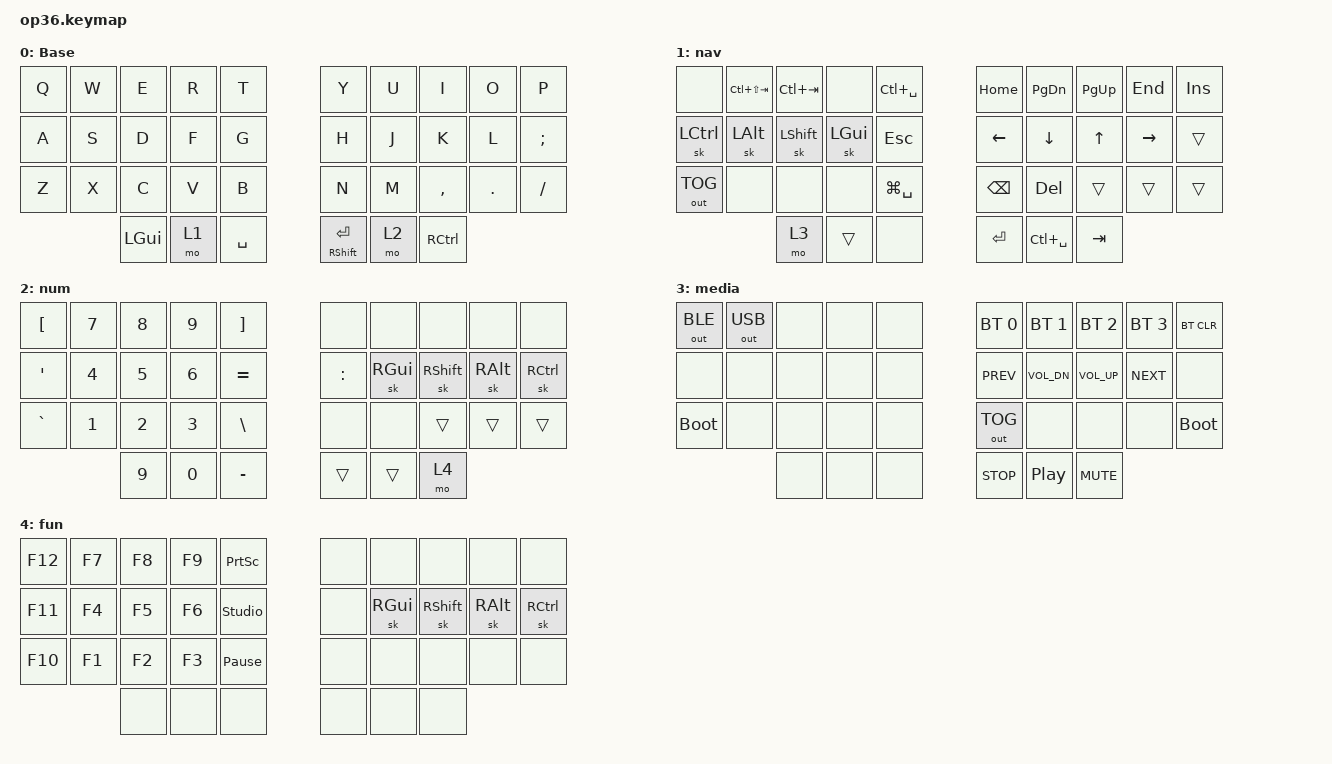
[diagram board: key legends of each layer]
#include "keys_ru.h"
#include <behaviors.dtsi>
#include <dt-bindings/zmk/bt.h>
#include <dt-bindings/zmk/keys.h>
#include <dt-bindings/zmk/outputs.h>

/ {
    combos { compatible = "zmk,combos"; };

    keymap {
        compatible = "zmk,keymap";

        base {
            display-name = "Base";
            bindings = <
  &kp Q  &kp W  &kp E  &kp R     &kp T                                &kp Y  &kp U      &kp I      &kp O    &kp P
  &kp A  &kp S  &kp D  &kp F     &kp G                                &kp H  &kp J      &kp K      &kp L    &kp SEMI
  &kp Z  &kp X  &kp C  &kp V     &kp B                                &kp N  &kp M      &kp COMMA  &kp DOT  &kp FSLH
                       &kp LGUI  &mo 1  &kp SPACE    &mt RSHFT ENTER  &mo 2  &kp RCTRL
            >;
        };

        nav {
            display-name = "nav";
            bindings = <
  &none         &kp LC(LS(TAB))  &kp LC(TAB)  &none     &kp LC(SPACE)                      &kp HOME        &kp PG_DN   &kp PG_UP  &kp END          &kp INS
  &sk LCTRL     &sk LALT         &sk LSHFT    &sk LGUI  &kp ESC                            &kp LEFT_ARROW  &kp DOWN    &kp UP     &kp RIGHT_ARROW  &trans
  &out OUT_TOG  &none            &none        &none     &kp LG(SPACE)                      &kp BACKSPACE   &kp DELETE  &trans     &trans           &trans
                                              &mo 3     &trans         &none    &kp ENTER  &kp LC(SPACE)   &kp TAB
            >;
        };

        num {
            bindings = <
  &kp LBKT   &kp N7  &kp N8  &kp N9  &kp RBKT                        &none      &none     &none      &none     &none
  &kp SQT    &kp N4  &kp N5  &kp N6  &kp EQUAL                       &kp COLON  &sk RGUI  &sk RSHFT  &sk RALT  &sk RCTRL
  &kp GRAVE  &kp N1  &kp N2  &kp N3  &kp BSLH                        &none      &none     &trans     &trans    &trans
                             &kp N9  &kp N0     &kp MINUS    &trans  &trans     &mo 4
            >;

            label = "num";
        };

        media {
            bindings = <
  &out OUT_BLE  &out OUT_USB  &none  &none  &none                       &bt BT_SEL 0      &bt BT_SEL 1  &bt BT_SEL 2  &bt BT_SEL 3  &bt BT_CLR
  &none         &none         &none  &none  &none                       &kp C_PREV        &kp C_VOL_DN  &kp C_VOL_UP  &kp C_NEXT    &none
  &bootloader   &none         &none  &none  &none                       &out OUT_TOG      &none         &none         &none         &bootloader
                                     &none  &none  &none    &kp C_STOP  &kp C_PLAY_PAUSE  &kp C_MUTE
            >;

            label = "media";
        };

        fun {
            bindings = <
  &kp F12  &kp F7  &kp F8  &kp F9  &kp PRINTSCREEN                  &none  &none     &none      &none     &none
  &kp F11  &kp F4  &kp F5  &kp F6  &studio_unlock                   &none  &sk RGUI  &sk RSHFT  &sk RALT  &sk RCTRL
  &kp F10  &kp F1  &kp F2  &kp F3  &kp PAUSE_BREAK                  &none  &none     &none      &none     &none
                           &none   &none            &none    &none  &none  &none
            >;

            label = "fun";
        };
    };
};
